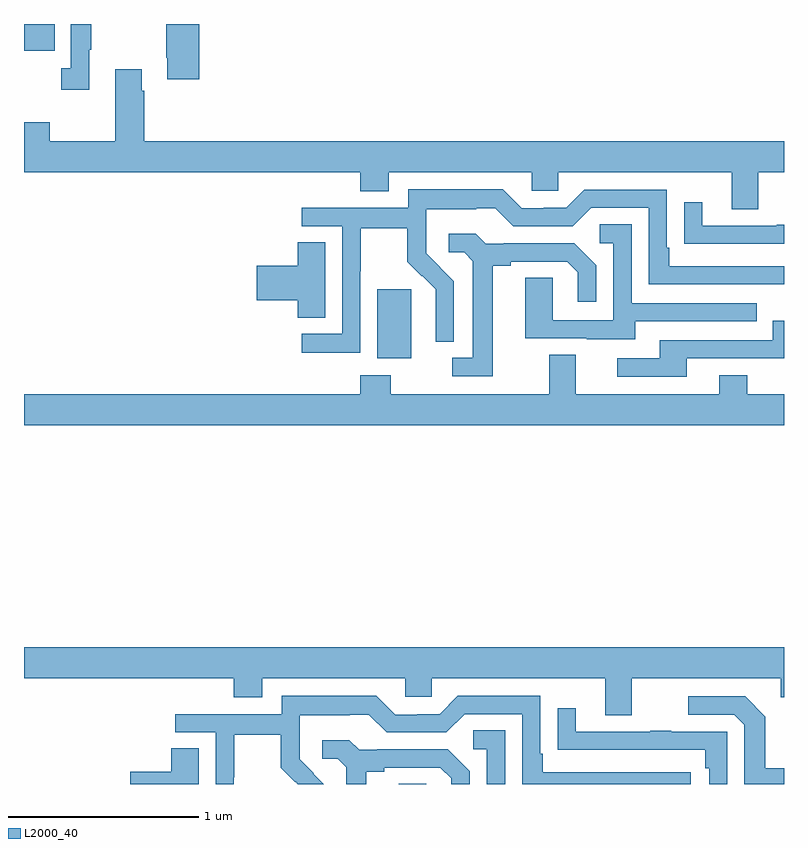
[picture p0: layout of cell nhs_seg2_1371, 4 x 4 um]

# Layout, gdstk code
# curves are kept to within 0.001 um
import gdstk
lib = gdstk.Library(unit=1e-6, precision=1e-09)
def R(c, l, rs):  # rectangles x0, y0, x1, y1
    for r in rs: c.add(gdstk.rectangle(r[:2], r[2:], *l))
def P(c, l, *ps):  # polygons
    for p in ps: c.add(gdstk.Polygon(p, *l))
L2000_40 = (2000, 40)

nhs_seg2_1371 = lib.new_cell('nhs_seg2_1371')
R(nhs_seg2_1371, L2000_40, [(184.973,593.8,185.118,593.801), (184.859,596.042,185.038,596.403), (183,597.658,183.161,597.8)])
P(nhs_seg2_1371, L2000_40, [(183.343,597.665),(183.355,597.665),(183.355,597.8),(183.246,597.8),(183.246,597.566),(183.195,597.566),(183.195,597.453),(183.343,597.453)],
  [(183.923,597.8),(183.748,597.8),(183.748,597.622),(183.755,597.622),(183.755,597.51),(183.923,597.51)],
  [(186.865,597.02),(187,597.02),(187,597.184),(183.632,597.184),(183.632,597.449),(183.619,597.449),(183.619,597.562),(183.479,597.562),(183.479,597.184),(183.135,597.184),(183.135,597.283),(183,597.283),(183,597.02),(184.769,597.02),(184.769,596.921),(184.921,596.921),(184.921,597.02),(185.673,597.02),(185.673,596.922),(185.811,596.922),(185.811,597.02),(186.725,597.02),(186.725,596.826),(186.865,596.826)],
  [(184.77,596.5),(184.773,596.5),(184.773,596.724),(185.017,596.724),(185.017,596.549),(185.094,596.472),(185.097,596.475),(185.168,596.405),(185.168,596.282),(185.166,596.282),(185.166,596.128),(185.262,596.128),(185.262,596.446),(185.116,596.594),(185.116,596.691),(185.118,596.691),(185.118,596.825),(185.381,596.825),(185.381,596.829),(185.481,596.829),(185.574,596.736),(185.889,596.736),(185.985,596.832),(186.288,596.832),(186.288,596.43),(187,596.43),(187,596.526),(186.397,596.526),(186.397,596.623),(186.384,596.623),(186.384,596.928),(185.949,596.928),(185.853,596.832),(185.735,596.832),(185.735,596.829),(185.619,596.829),(185.519,596.929),(185.022,596.929),(185.022,596.832),(184.461,596.832),(184.461,596.736),(184.674,596.736),(184.674,596.169),(184.461,596.169),(184.461,596.071),(184.77,596.071)],
  [(187,596.744),(186.961,596.744),(186.961,596.739),(186.571,596.739),(186.571,596.863),(186.475,596.863),(186.475,596.644),(186.577,596.644),(186.577,596.643),(187,596.643)],
  [(186.217,596.235),(186.857,596.235),(186.857,596.331),(186.198,596.331),(186.198,596.747),(186.03,596.747),(186.03,596.646),(186.102,596.646),(186.102,596.241),(185.784,596.241),(185.784,596.465),(185.639,596.465),(185.639,596.145),(185.963,596.145),(185.963,596.141),(186.217,596.141)],
  [(185.467,596.528),(185.563,596.528),(185.563,596.55),(185.858,596.55),(185.915,596.493),(185.915,596.337),(186.012,596.337),(186.012,596.53),(185.896,596.646),(185.524,596.646),(185.524,596.643),(185.43,596.643),(185.378,596.695),(185.235,596.695),(185.235,596.598),(185.316,596.598),(185.363,596.551),(185.363,596.043),(185.253,596.043),(185.253,595.947),(185.467,595.947)],
  [(184.585,596.651),(184.442,596.651),(184.442,596.528),(184.224,596.528),(184.224,596.345),(184.442,596.345),(184.442,596.254),(184.585,596.254)],
  [(186.487,596.04),(187,596.04),(187,596.239),(186.942,596.239),(186.942,596.136),(186.347,596.136),(186.347,596.04),(186.123,596.04),(186.123,595.944),(186.487,595.944)],
  [(187,595.852),(186.807,595.852),(186.807,595.951),(186.659,595.951),(186.659,595.852),(185.905,595.852),(185.905,596.06),(185.765,596.06),(185.765,595.852),(184.929,595.852),(184.929,595.951),(184.769,595.951),(184.769,595.852),(183,595.852),(183,595.688),(187,595.688)],
  [(186.199,594.356),(186.983,594.356),(186.983,594.257),(187,594.257),(187,594.52),(183,594.52),(183,594.356),(184.103,594.356),(184.103,594.257),(184.255,594.257),(184.255,594.356),(185.007,594.356),(185.007,594.258),(185.145,594.258),(185.145,594.356),(186.059,594.356),(186.059,594.162),(186.199,594.162)],
  [(184.104,593.836),(184.107,593.836),(184.107,594.06),(184.351,594.06),(184.351,593.885),(184.428,593.808),(184.431,593.811),(184.442,593.8),(184.578,593.8),(184.45,593.93),(184.45,594.027),(184.452,594.027),(184.452,594.161),(184.715,594.161),(184.715,594.165),(184.815,594.165),(184.908,594.072),(185.223,594.072),(185.319,594.168),(185.622,594.168),(185.622,593.8),(186.508,593.8),(186.508,593.862),(185.731,593.862),(185.731,593.959),(185.718,593.959),(185.718,594.264),(185.283,594.264),(185.187,594.168),(185.069,594.168),(185.069,594.165),(184.953,594.165),(184.853,594.265),(184.356,594.265),(184.356,594.168),(183.795,594.168),(183.795,594.072),(184.008,594.072),(184.008,593.8),(184.104,593.8)],
  [(187,593.883),(186.901,593.883),(186.901,594.155),(186.795,594.261),(186.495,594.261),(186.495,594.165),(186.738,594.165),(186.792,594.111),(186.792,593.8),(187,593.8)],
  [(186.702,594.075),(186.407,594.075),(186.407,594.08),(186.295,594.08),(186.295,594.075),(185.905,594.075),(185.905,594.199),(185.809,594.199),(185.809,593.98),(185.911,593.98),(185.911,593.979),(186.586,593.979),(186.586,593.882),(186.606,593.882),(186.606,593.8),(186.702,593.8)],
  [(185.532,594.083),(185.364,594.083),(185.364,593.982),(185.436,593.982),(185.436,593.8),(185.532,593.8)],
  [(184.801,593.864),(184.897,593.864),(184.897,593.886),(185.192,593.886),(185.249,593.829),(185.249,593.8),(185.346,593.8),(185.346,593.866),(185.23,593.982),(184.858,593.982),(184.858,593.979),(184.764,593.979),(184.712,594.031),(184.569,594.031),(184.569,593.934),(184.65,593.934),(184.697,593.887),(184.697,593.8),(184.801,593.8)],
  [(183.919,593.987),(183.776,593.987),(183.776,593.864),(183.558,593.864),(183.558,593.8),(183.919,593.8)])

lib.write_gds('nhs_seg2_1371.gds')
